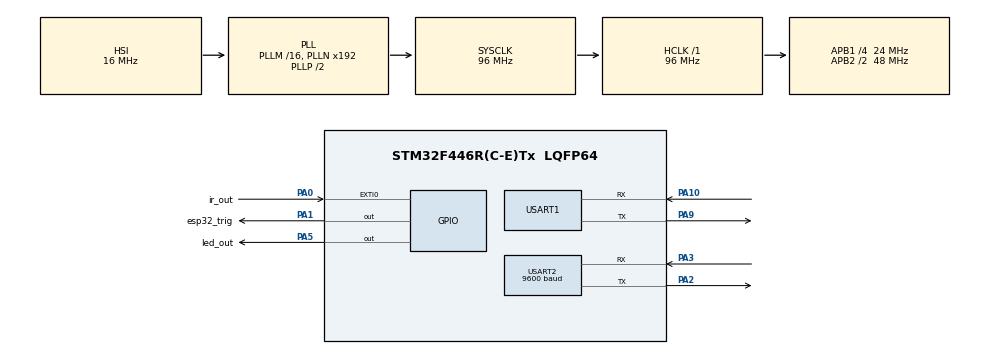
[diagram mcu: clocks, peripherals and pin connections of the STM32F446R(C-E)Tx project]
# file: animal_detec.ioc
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FREERTOS.Tasks01=defaultTask,24,128,StartDefaultTask,Default,NULL,Dynamic,NULL,NULL
FREERTOS.configTOTAL_HEAP_SIZE=20480
Mcu.Family=STM32F4
Mcu.Name=STM32F446R(C-E)Tx
Mcu.Package=LQFP64
NVIC.EXTI0_IRQn=true\:5\:0\:false\:false\:true\:true\:true\:true
NVIC.PriorityGroup=NVIC_PRIORITYGROUP_4
NVIC.TIM6_DAC_IRQn=true\:0\:0\:false\:false\:true\:false\:false\:true
NVIC.TimeBase=TIM6_DAC_IRQn
NVIC.TimeBaseIP=TIM6
NVIC.USART1_IRQn=true\:5\:0\:false\:false\:true\:true\:true\:true
NVIC.USART2_IRQn=true\:5\:0\:false\:false\:true\:true\:true\:true
PA0-WKUP.GPIO_Label=ir_out
PA0-WKUP.GPIO_PuPd=GPIO_PULLDOWN
PA0-WKUP.Signal=GPXTI0
PA1.GPIO_Label=esp32_trig
PA1.Signal=GPIO_Output
PA10.Mode=Asynchronous
PA10.Signal=USART1_RX
PA13.Mode=Serial_Wire
PA13.Signal=SYS_JTMS-SWDIO
PA14.Mode=Serial_Wire
PA14.Signal=SYS_JTCK-SWCLK
PA2.Mode=Asynchronous
PA2.Signal=USART2_TX
PA3.Mode=Asynchronous
PA3.Signal=USART2_RX
PA5.GPIO_Label=led_out
PA5.Signal=GPIO_Output
PA9.Mode=Asynchronous
PA9.Signal=USART1_TX
PH0-OSC_IN.Mode=HSE-External-Oscillator
PH0-OSC_IN.Signal=RCC_OSC_IN
PH1-OSC_OUT.Mode=HSE-External-Oscillator
PH1-OSC_OUT.Signal=RCC_OSC_OUT
ProjectManager.HeapSize=0x200
ProjectManager.StackSize=0x400
ProjectManager.TargetToolchain=STM32CubeIDE
RCC.AHBFreq_Value=96000000
RCC.APB1CLKDivider=RCC_HCLK_DIV4
RCC.APB1Freq_Value=24000000
RCC.APB1TimFreq_Value=48000000
RCC.APB2CLKDivider=RCC_HCLK_DIV2
RCC.APB2Freq_Value=48000000
RCC.APB2TimFreq_Value=96000000
RCC.CortexFreq_Value=96000000
RCC.HCLKFreq_Value=96000000
RCC.HSE_VALUE=8000000
RCC.SYSCLKFreq_VALUE=96000000
RCC.SYSCLKSource=RCC_SYSCLKSOURCE_PLLCLK
RCC.USBFreq_Value=96000000
RCC.VCOOutputFreq_Value=192000000
USART1.VirtualMode=VM_ASYNC
USART2.BaudRate=9600
USART2.VirtualMode=VM_ASYNC
VP_FREERTOS_VS_CMSIS_V2.Mode=CMSIS_V2
VP_SYS_VS_tim6.Mode=TIM6
board=custom

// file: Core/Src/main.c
/* USER CODE BEGIN Header */
/**
  ******************************************************************************
  * @file           : main.c
  * @brief          : Main program body
  ******************************************************************************
  * @attention
  *
  * <h2><center>&copy; Copyright (c) 2026 STMicroelectronics.
  * All rights reserved.</center></h2>
  *
  * This software component is licensed by ST under BSD 3-Clause license,
  * the "License"; You may not use this file except in compliance with the
  * License. You may obtain a copy of the License at:
  *                        opensource.org/licenses/BSD-3-Clause
  *
  ******************************************************************************
  */
/* USER CODE END Header */
#include "main.h"
#include "cmsis_os.h"

/* USER CODE BEGIN Includes */
#include "semphr.h"

/* USER CODE END Includes */

/* USER CODE BEGIN PD */
#define NODE_ID  1   // Change for each node

/* USER CODE END PD */

UART_HandleTypeDef huart1;
UART_HandleTypeDef huart2;

/* Definitions for defaultTask */

/* USER CODE BEGIN PV */
/* USER CODE BEGIN PV */
osThreadId_t mlTaskHandle;
osThreadId_t loraTaskHandle;

osSemaphoreId_t irSemaphoreHandle;
const osThreadAttr_t mlTask_attributes = {
    .name = "mlTask",
    .priority = (osPriority_t) osPriorityHigh,
    .stack_size = 512 * 4
  };

  const osThreadAttr_t loraTask_attributes = {
    .name = "loraTask",
    .priority = (osPriority_t) osPriorityAboveNormal,
    .stack_size = 512 * 4
  };
  const osSemaphoreAttr_t irSemaphore_attributes = {
    .name = "irSemaphore"
  };
  typedef struct
  {
      uint8_t sender_id;
      uint8_t packet_id;
      uint8_t data;
  } LoRaPacket;

  LoRaPacket txPacket;
  LoRaPacket rxPacket;

  uint8_t lastPacketID = 0;
  uint8_t lastSenderID = 0;
  uint8_t myPacketCounter = 0;

/* USER CODE END PV */

/* USER CODE END PV */

void SystemClock_Config(void);
static void MX_GPIO_Init(void);
static void MX_USART1_UART_Init(void);
static void MX_USART2_UART_Init(void);

/* USER CODE BEGIN PFP */
void ML_Task(void *argument);
void LoRa_Task(void *argument);

/* USER CODE END PFP */

int main(void)
{

  /* MCU Configuration--------------------------------------------------------*/

  /* Reset of all peripherals, Initializes the Flash interface and the Systick. */
  HAL_Init();

  /* Configure the system clock */
  SystemClock_Config();

  /* Initialize all configured peripherals */
  MX_GPIO_Init();
  MX_USART1_UART_Init();
  MX_USART2_UART_Init();

  /* Init scheduler */
  osKernelInitialize();

  /* USER CODE BEGIN RTOS_SEMAPHORES */
  irSemaphoreHandle = osSemaphoreNew(1, 0, &irSemaphore_attributes);

  /* add semaphores, ... */
  /* USER CODE END RTOS_SEMAPHORES */

  /* Create the thread(s) */
  /* creation of defaultTask */

  /* USER CODE BEGIN RTOS_THREADS */
  mlTaskHandle = osThreadNew(ML_Task, NULL, &mlTask_attributes);
  loraTaskHandle = osThreadNew(LoRa_Task, NULL, &loraTask_attributes);

  /* add threads, ... */
  /* USER CODE END RTOS_THREADS */

  /* Start scheduler */
  osKernelStart();

  /* We should never get here as control is now taken by the scheduler */
  /* Infinite loop */
  while (1)
  {

  }
}

void SystemClock_Config(void)
{
  RCC_OscInitTypeDef RCC_OscInitStruct = {0};
  RCC_ClkInitTypeDef RCC_ClkInitStruct = {0};

  /** Configure the main internal regulator output voltage
  */
  __HAL_RCC_PWR_CLK_ENABLE();
  __HAL_PWR_VOLTAGESCALING_CONFIG(PWR_REGULATOR_VOLTAGE_SCALE3);
  /** Initializes the RCC Oscillators according to the specified parameters
  * in the RCC_OscInitTypeDef structure.
  */
  RCC_OscInitStruct.OscillatorType = RCC_OSCILLATORTYPE_HSI;
  RCC_OscInitStruct.HSIState = RCC_HSI_ON;
  RCC_OscInitStruct.HSICalibrationValue = RCC_HSICALIBRATION_DEFAULT;
  RCC_OscInitStruct.PLL.PLLState = RCC_PLL_ON;
  RCC_OscInitStruct.PLL.PLLSource = RCC_PLLSOURCE_HSI;
  RCC_OscInitStruct.PLL.PLLM = 16;
  RCC_OscInitStruct.PLL.PLLN = 192;
  RCC_OscInitStruct.PLL.PLLP = RCC_PLLP_DIV2;
  RCC_OscInitStruct.PLL.PLLQ = 2;
  RCC_OscInitStruct.PLL.PLLR = 2;
  if (HAL_RCC_OscConfig(&RCC_OscInitStruct) != HAL_OK)
  {
    Error_Handler();
  }
  /** Initializes the CPU, AHB and APB buses clocks
  */
  RCC_ClkInitStruct.ClockType = RCC_CLOCKTYPE_HCLK|RCC_CLOCKTYPE_SYSCLK
                              |RCC_CLOCKTYPE_PCLK1|RCC_CLOCKTYPE_PCLK2;
  RCC_ClkInitStruct.SYSCLKSource = RCC_SYSCLKSOURCE_PLLCLK;
  RCC_ClkInitStruct.AHBCLKDivider = RCC_SYSCLK_DIV1;
  RCC_ClkInitStruct.APB1CLKDivider = RCC_HCLK_DIV4;
  RCC_ClkInitStruct.APB2CLKDivider = RCC_HCLK_DIV2;

  if (HAL_RCC_ClockConfig(&RCC_ClkInitStruct, FLASH_LATENCY_3) != HAL_OK)
  {
    Error_Handler();
  }
}

static void MX_USART1_UART_Init(void)
{

  huart1.Instance = USART1;
  huart1.Init.BaudRate = 115200;
  huart1.Init.WordLength = UART_WORDLENGTH_8B;
  huart1.Init.StopBits = UART_STOPBITS_1;
  huart1.Init.Parity = UART_PARITY_NONE;
  huart1.Init.Mode = UART_MODE_TX_RX;
  huart1.Init.HwFlowCtl = UART_HWCONTROL_NONE;
  huart1.Init.OverSampling = UART_OVERSAMPLING_16;
  if (HAL_UART_Init(&huart1) != HAL_OK)
  {
    Error_Handler();
  }

}

static void MX_USART2_UART_Init(void)
{

  huart2.Instance = USART2;
  huart2.Init.BaudRate = 9600;
  huart2.Init.WordLength = UART_WORDLENGTH_8B;
  huart2.Init.StopBits = UART_STOPBITS_1;
  huart2.Init.Parity = UART_PARITY_NONE;
  huart2.Init.Mode = UART_MODE_TX_RX;
  huart2.Init.HwFlowCtl = UART_HWCONTROL_NONE;
  huart2.Init.OverSampling = UART_OVERSAMPLING_16;
  if (HAL_UART_Init(&huart2) != HAL_OK)
  {
    Error_Handler();
  }

}

static void MX_GPIO_Init(void)
{
  GPIO_InitTypeDef GPIO_InitStruct = {0};

  /* GPIO Ports Clock Enable */
  __HAL_RCC_GPIOH_CLK_ENABLE();
  __HAL_RCC_GPIOA_CLK_ENABLE();

  /*Configure GPIO pin Output Level */
  HAL_GPIO_WritePin(GPIOA, esp32_trig_Pin|led_out_Pin, GPIO_PIN_RESET);

  /*Configure GPIO pin : ir_out_Pin */
  GPIO_InitStruct.Pin = ir_out_Pin;
  GPIO_InitStruct.Mode = GPIO_MODE_IT_RISING;
  GPIO_InitStruct.Pull = GPIO_PULLDOWN;
  HAL_GPIO_Init(ir_out_GPIO_Port, &GPIO_InitStruct);

  /*Configure GPIO pins : esp32_trig_Pin led_out_Pin */
  GPIO_InitStruct.Pin = esp32_trig_Pin|led_out_Pin;
  GPIO_InitStruct.Mode = GPIO_MODE_OUTPUT_PP;
  GPIO_InitStruct.Pull = GPIO_NOPULL;
  GPIO_InitStruct.Speed = GPIO_SPEED_FREQ_LOW;
  HAL_GPIO_Init(GPIOA, &GPIO_InitStruct);

  /* EXTI interrupt init*/
  HAL_NVIC_SetPriority(EXTI0_IRQn, 6, 0);
  HAL_NVIC_EnableIRQ(EXTI0_IRQn);

}

/* USER CODE BEGIN 4 */
uint8_t ml_result = 0;
uint8_t lora_rx = 0;

void ML_Task(void *argument)
{
  for(;;)
  {
    osSemaphoreAcquire(irSemaphoreHandle, osWaitForever);

    HAL_GPIO_WritePin(GPIOA, esp32_trig_Pin, GPIO_PIN_SET);
    osDelay(100);
    HAL_GPIO_WritePin(GPIOA, esp32_trig_Pin, GPIO_PIN_RESET);

    if(HAL_UART_Receive(&huart1, &ml_result, 1, 200) == HAL_OK)
    {
      if(ml_result == 1)
      {
    	  myPacketCounter++;

    	  txPacket.sender_id = NODE_ID;
    	  txPacket.packet_id = myPacketCounter;
    	  txPacket.data = 1;

    	  HAL_UART_Transmit(&huart2, (uint8_t*)&txPacket, sizeof(LoRaPacket), 100);

        HAL_GPIO_WritePin(GPIOA, led_out_Pin, GPIO_PIN_SET);
      }
      else
      {
        HAL_GPIO_WritePin(GPIOA, led_out_Pin, GPIO_PIN_RESET);
      }
    }
  }
}

void LoRa_Task(void *argument)
{
  for(;;)
  {
    /* Relay only when IR is LOW */
    if(HAL_GPIO_ReadPin(ir_out_GPIO_Port, ir_out_Pin) == GPIO_PIN_RESET)
    {
        if(HAL_UART_Receive(&huart2,
                            (uint8_t*)&rxPacket,
                            sizeof(LoRaPacket),
                            10) == HAL_OK)
        {
            /* Ignore if packet came from me */
            if(rxPacket.sender_id == NODE_ID)
                continue;

            /* Ignore duplicate packet (same sender + same packet ID) */
            if((rxPacket.packet_id == lastPacketID) &&
               (rxPacket.sender_id == lastSenderID))
                continue;

            /* Store last received packet info */
            lastPacketID = rxPacket.packet_id;
            lastSenderID = rxPacket.sender_id;

            if(rxPacket.data == 1)
            {
                /* Turn ON LED */
                HAL_GPIO_WritePin(GPIOA, led_out_Pin, GPIO_PIN_SET);

                /* Forward SAME packet */
                HAL_UART_Transmit(&huart2,
                                  (uint8_t*)&rxPacket,
                                  sizeof(LoRaPacket),
                                  100);
            }
            else
            {
                HAL_GPIO_WritePin(GPIOA, led_out_Pin, GPIO_PIN_RESET);
            }
        }
    }

    osDelay(20);
  }
}
void HAL_GPIO_EXTI_Callback(uint16_t GPIO_Pin)
{
  if(GPIO_Pin == ir_out_Pin)
  {
	  if(irSemaphoreHandle != NULL)
	     {
	       osSemaphoreRelease(irSemaphoreHandle);
	     }  }
}

/* USER CODE END 4 */

 /**
  * @brief  Period elapsed callback in non blocking mode
  * @note   This function is called  when TIM6 interrupt took place, inside
  * HAL_TIM_IRQHandler(). It makes a direct call to HAL_IncTick() to increment
  * a global variable "uwTick" used as application time base.
  * @param  htim : TIM handle
  * @retval None
  */
void HAL_TIM_PeriodElapsedCallback(TIM_HandleTypeDef *htim)
{
  if (htim->Instance == TIM6) {
    HAL_IncTick();
  }
}

void Error_Handler(void)
{
  __disable_irq();
  while (1)
  {
  }
}

void vApplicationStackOverflowHook(TaskHandle_t xTask, char *pcTaskName)
{
  while(1)
  {
    HAL_GPIO_TogglePin(GPIOA, led_out_Pin);
    HAL_Delay(200);
  }
}

/************************ (C) COPYRIGHT STMicroelectronics *****END OF FILE****/
